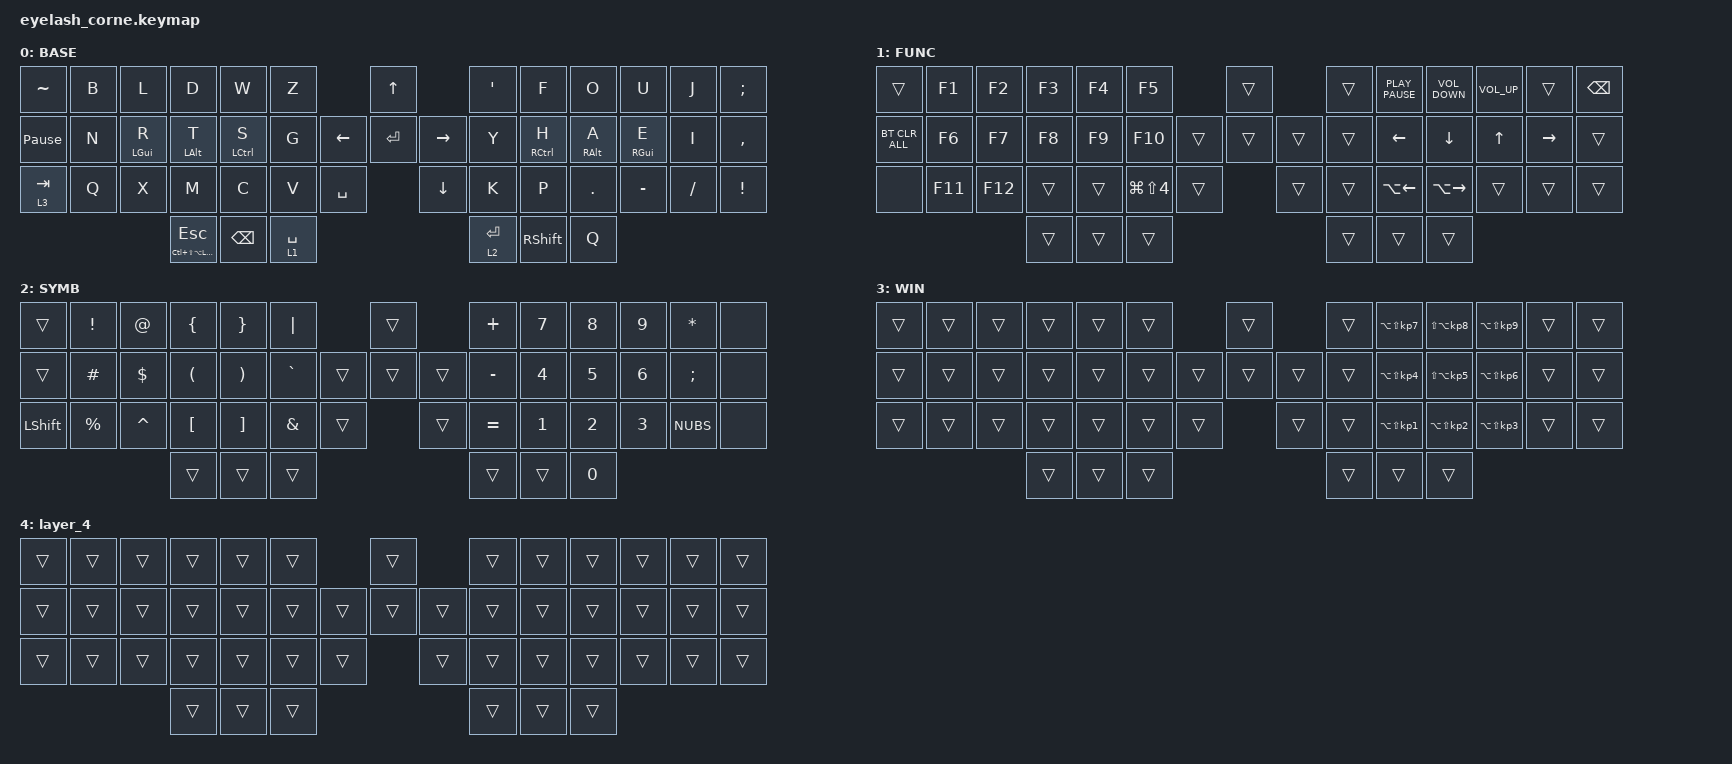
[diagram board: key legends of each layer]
/*
 * Copyright (c) 2020 The ZMK Contributors
 *
 * SPDX-License-Identifier: MIT
 */

#include <behaviors.dtsi>
#include <dt-bindings/zmk/bt.h>
#include <dt-bindings/zmk/keys.h>

/ {
    combos {
        compatible = "zmk,combos";

        Enter {
            bindings = <&kp ENTER>;
            key-positions = <8 9 10>;
            layers = <0>;
        };

        Tab {
            bindings = <&kp TAB>;
            key-positions = <2 3>;
        };

        esc {
            bindings = <&kp ESCAPE>;
            key-positions = <8 9>;
        };

        Iock {
            bindings = <&kp K_LOCK>;
            key-positions = <20 21>;
        };

        equals {
            bindings = <&kp EQUAL>;
            key-positions = <36 37>;
        };
    };

    macros {
        empty: empty {
            compatible = "zmk,behavior-macro";
            #binding-cells = <0>;
            bindings = <&none>;
            label = "EMPTY";
        };
    };

    behaviors {
        Hold_tap_left: Hold_tap_left {
            compatible = "zmk,behavior-hold-tap";
            label = "HOLD_TAP_LEFT";
            bindings = <&kp>, <&kp>;

            #binding-cells = <2>;
            flavor = "balanced";
            tapping-term-ms = <200>;
            quick-tap-ms = <175>;
            require-prior-idle-ms = <150>;
            hold-trigger-on-release;
            hold-trigger-key-positions = <7 8 9 10 11 12 20 21 22 23 24 25 26 27 35 36 37 38 39 40 41 45 46 47>;
            hold-while-undecided;
        };

        Hold_tap_right: Hold_tap_right {
            compatible = "zmk,behavior-hold-tap";
            label = "HOLD_TAP_RIGHT";
            bindings = <&kp>, <&kp>;

            #binding-cells = <2>;
            tapping-term-ms = <200>;
            quick-tap-ms = <175>;
            require-prior-idle-ms = <150>;
            flavor = "balanced";
            hold-trigger-on-release;
            hold-trigger-key-positions = <0 1 2 3 4 5 13 14 15 16 17 18 28 29 30 31 32 33 42 43 44>;
            hold-while-undecided;
        };
    };

    keymap {
        compatible = "zmk,keymap";

        BASE {
            // Eyelash Corne layout: 6 left + middle keys + 6 right per row
            // Row 1: 6 + 1 (UP) + 6 = 13 keys
            // Row 2: 6 + 3 (LEFT/ENTER/RIGHT) + 6 = 15 keys
            // Row 3: 6 + 2 (SPACE/DOWN) + 6 = 14 keys
            // Thumbs: 3 + 3 = 6 keys

            bindings = <
&kp TILDE        &kp B  &kp L                  &kp D                        &kp W                   &kp Z                            &kp UP_ARROW                          &kp SINGLE_QUOTE  &kp F                    &kp O                        &kp U                        &kp J     &kp SEMICOLON
&kp PAUSE_BREAK  &kp N  &Hold_tap_left LGUI R  &Hold_tap_left LEFT_ALT T    &Hold_tap_left LCTRL S  &kp G              &kp LEFT      &kp ENTER        &kp RIGHT             &kp Y             &Hold_tap_right RCTRL H  &Hold_tap_right RIGHT_ALT A  &Hold_tap_right RIGHT_GUI E  &kp I     &kp COMMA
&lt 3 TAB        &kp Q  &kp X                  &kp M                        &kp C                   &kp V              &kp SPACE                      &kp DOWN              &kp K             &kp P                    &kp PERIOD                   &kp MINUS                    &kp FSLH  &kp EXCLAMATION
                                               &mt LC(LS(LA(LGUI))) ESCAPE  &kp BACKSPACE           &lt 1 SPACE                                                             &lt 2 ENTER       &kp RIGHT_SHIFT          &kp Q
            >;

            label = "BASE";
        };

        FUNC {
            bindings = <
&trans          &kp F1   &kp F2   &kp F3  &kp F4  &kp F5                           &trans                    &trans  &kp K_PLAY_PAUSE  &kp C_VOLUME_DOWN  &kp C_VOLUME_UP  &trans     &kp BSPC
&bt BT_CLR_ALL  &kp F6   &kp F7   &kp F8  &kp F9  &kp F10             &trans       &trans      &trans        &trans  &kp LEFT          &kp DOWN_ARROW     &kp UP_ARROW     &kp RIGHT  &trans
&none           &kp F11  &kp F12  &trans  &trans  &kp LG(LS(NUMBER_4))  &trans                 &trans        &trans  &kp LA(LEFT)      &kp LA(RIGHT)      &trans           &trans     &trans
                                  &trans  &trans  &trans                                                     &trans  &trans            &trans
            >;

            label = "FUNC";
        };

        SYMB {
            bindings = <
&trans     &kp EXCL     &kp AT      &kp LEFT_BRACE        &kp RIGHT_BRACE        &kp PIPE                     &trans                    &kp PLUS   &kp N7        &kp N8        &kp N9        &kp ASTERISK   &none
&trans     &kp HASH     &kp DOLLAR  &kp LEFT_PARENTHESIS  &kp RIGHT_PARENTHESIS  &kp GRAVE       &trans       &trans      &trans        &kp MINUS  &kp NUMBER_4  &kp N5        &kp NUMBER_6  &kp SEMICOLON  &none
&kp LSHFT  &kp PERCENT  &kp CARET   &kp LEFT_BRACKET      &kp RIGHT_BRACKET      &kp AMPERSAND   &trans                   &trans        &kp EQUAL  &kp NUMBER_1  &kp NUMBER_2  &kp NUMBER_3  &kp NUBS       &none
                                    &trans                &trans                 &trans                                                 &trans     &trans        &kp N0
            >;

            label = "SYMB";
        };

        WIN {
            bindings = <
&trans  &trans  &trans  &trans  &trans  &trans              &trans                    &trans  &kp LA(LS(KP_NUMBER_7))  &kp LS(LA(KP_NUMBER_8))  &kp LA(LS(KP_NUMBER_9))  &trans  &trans
&trans  &trans  &trans  &trans  &trans  &trans  &trans      &trans      &trans        &trans  &kp LA(LS(KP_NUMBER_4))  &kp LS(LA(KP_NUMBER_5))  &kp LA(LS(KP_NUMBER_6))  &trans  &trans
&trans  &trans  &trans  &trans  &trans  &trans  &trans                  &trans        &trans  &kp LA(LS(KP_NUMBER_1))  &kp LA(LS(KP_NUMBER_2))  &kp LA(LS(KP_NUMBER_3))  &trans  &trans
                        &trans  &trans  &trans                                        &trans  &trans                   &trans
            >;

            label = "WIN";
        };

        layer_4 {
            bindings = <
&trans  &trans  &trans  &trans  &trans  &trans              &trans                    &trans  &trans  &trans  &trans  &trans  &trans
&trans  &trans  &trans  &trans  &trans  &trans  &trans      &trans      &trans        &trans  &trans  &trans  &trans  &trans  &trans
&trans  &trans  &trans  &trans  &trans  &trans  &trans                  &trans        &trans  &trans  &trans  &trans  &trans  &trans
                        &trans  &trans  &trans                                        &trans  &trans  &trans
            >;
        };
    };
};
